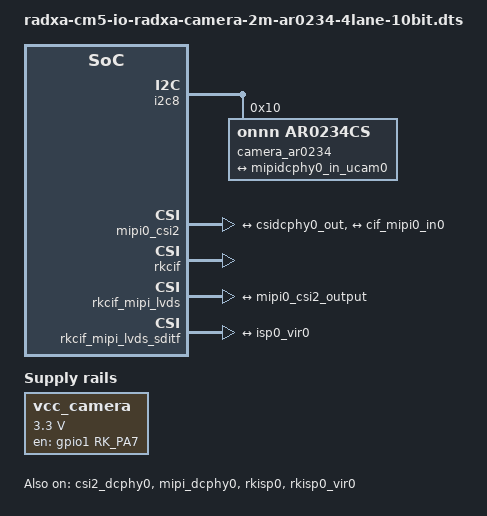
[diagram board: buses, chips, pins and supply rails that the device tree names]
/dts-v1/;
/plugin/;

#include <dt-bindings/gpio/gpio.h>
#include <dt-bindings/pinctrl/rockchip.h>

/ {
	metadata {
		title = "Enable Radxa Camera 2M AR0234 with RAW10 format on CSI1 (31-pin)";
		compatible = "radxa,cm5-io";
		category = "camera";
		exclusive = "GPIO1_A7", "csi2_dcphy0", "i2c8";
		description = "Enable Radxa Camera 2M AR0234 with RAW10 format on CSI1 (31-pin).";
	};
};

&{/} {
	vcc_camera: vcc-camera {
		status = "okay";
		compatible = "regulator-fixed";
		regulator-name = "vcc_camera";
		gpio = <&gpio1 RK_PA7 GPIO_ACTIVE_HIGH>;
		enable-active-high;
		regulator-min-microvolt = <3300000>;
		regulator-max-microvolt = <3300000>;
		regulator-always-on;
	};
};

&i2c8 {
	status = "okay";
	pinctrl-0 = <&i2c8m2_xfer>;
	#address-cells = <1>;
	#size-cells = <0>;

	camera_ar0234: camera-ar0234@10 {
		status = "okay";
		compatible = "onnn,ar0234cs";
		reg = <0x10>;
		rockchip,camera-module-index = <0>;
		rockchip,camera-module-facing = "back";
		rockchip,camera-module-name = "default";
		rockchip,camera-module-lens-name = "default";

		port {
			ar0234_out0: endpoint {
				remote-endpoint = <&mipidcphy0_in_ucam0>;
				data-lanes = <1 2 3 4>;
				link-frequencies = /bits/ 64 <450000000>;
			};
		};
	};
};

&csi2_dcphy0 {
	status = "okay";

	ports {
		#address-cells = <1>;
		#size-cells = <0>;

		port@0 {
			reg = <0>;
			#address-cells = <1>;
			#size-cells = <0>;

			mipidcphy0_in_ucam0: endpoint@1 {
				reg = <1>;
				remote-endpoint = <&ar0234_out0>;
				data-lanes = <1 2 3 4>;
			};
		};

		port@1 {
			reg = <1>;
			#address-cells = <1>;
			#size-cells = <0>;

			csidcphy0_out: endpoint@0 {
				reg = <0>;
				remote-endpoint = <&mipi0_csi2_input>;
			};
		};
	};
};

&mipi_dcphy0 {
	status = "okay";
};

&mipi0_csi2 {
	status = "okay";

	ports {
		#address-cells = <1>;
		#size-cells = <0>;

		port@0 {
			reg = <0>;
			#address-cells = <1>;
			#size-cells = <0>;

			mipi0_csi2_input: endpoint@1 {
				reg = <1>;
				remote-endpoint = <&csidcphy0_out>;
			};
		};

		port@1 {
			reg = <1>;
			#address-cells = <1>;
			#size-cells = <0>;

			mipi0_csi2_output: endpoint@0 {
				reg = <0>;
				remote-endpoint = <&cif_mipi0_in0>;
			};
		};
	};
};

&rkcif {
	status = "okay";
};

&rkcif_mipi_lvds {
	status = "okay";

	port {
		cif_mipi0_in0: endpoint {
			remote-endpoint = <&mipi0_csi2_output>;
		};
	};
};

&rkcif_mipi_lvds_sditf {
	status = "okay";

	port {
		mipi_lvds_sditf: endpoint {
			remote-endpoint = <&isp0_vir0>;
		};
	};
};

&rkcif_mmu {
	status = "okay";
};

&isp0_mmu {
	status = "okay";
};

&rkisp0 {
	status = "okay";
};

&rkisp0_vir0 {
	status = "okay";

	port {
		#address-cells = <1>;
		#size-cells = <0>;

		isp0_vir0: endpoint@0 {
			reg = <0>;
			remote-endpoint = <&mipi_lvds_sditf>;
		};
	};
};
